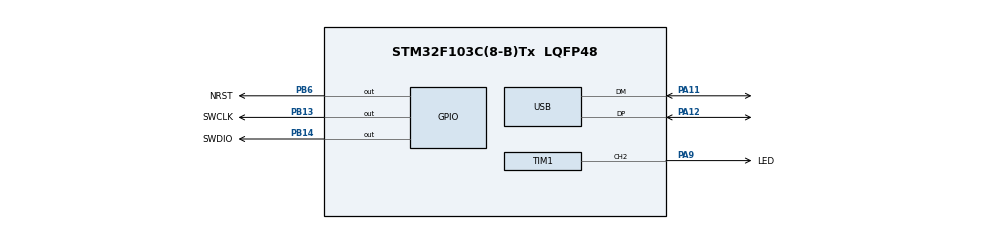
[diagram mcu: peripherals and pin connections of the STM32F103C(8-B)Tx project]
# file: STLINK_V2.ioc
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Mcu.Family=STM32F1
Mcu.Name=STM32F103C(8-B)Tx
Mcu.Package=LQFP48
NVIC.PriorityGroup=NVIC_PRIORITYGROUP_4
NVIC.USB_HP_CAN1_TX_IRQn=true\:0\:0\:false\:false\:true\:true\:true\:true
NVIC.USB_LP_CAN1_RX0_IRQn=true\:0\:0\:false\:false\:true\:true\:true\:true
PA11.Mode=Device
PA11.Signal=USB_DM
PA12.Mode=Device
PA12.Signal=USB_DP
PA13.Mode=Serial_Wire
PA13.Signal=SYS_JTMS-SWDIO
PA14.Mode=Serial_Wire
PA14.Signal=SYS_JTCK-SWCLK
PA9.GPIO_Label=LED
PA9.Signal=S_TIM1_CH2
PB13.GPIO_Label=SWCLK
PB13.Signal=GPIO_Output
PB14.GPIO_Label=SWDIO
PB14.Signal=GPIO_Output
PB6.GPIO_Label=NRST
PB6.GPIO_ModeDefaultOutputPP=GPIO_MODE_OUTPUT_OD
PB6.PinState=GPIO_PIN_SET
PB6.Signal=GPIO_Output
PD0-OSC_IN.Mode=HSE-External-Oscillator
PD0-OSC_IN.Signal=RCC_OSC_IN
PD1-OSC_OUT.Mode=HSE-External-Oscillator
PD1-OSC_OUT.Signal=RCC_OSC_OUT
ProjectManager.HeapSize=0x1700
ProjectManager.StackSize=0x800
ProjectManager.TargetToolchain=CMake
RCC.AHBFreq_Value=72000000
RCC.APB1CLKDivider=RCC_HCLK_DIV2
RCC.APB1Freq_Value=36000000
RCC.APB1TimFreq_Value=72000000
RCC.APB2Freq_Value=72000000
RCC.APB2TimFreq_Value=72000000
RCC.HCLKFreq_Value=72000000
RCC.PLLMUL=RCC_PLL_MUL9
RCC.PLLSourceVirtual=RCC_PLLSOURCE_HSE
RCC.SYSCLKFreq_VALUE=72000000
RCC.SYSCLKSource=RCC_SYSCLKSOURCE_PLLCLK
RCC.USBFreq_Value=48000000
RCC.USBPrescaler=RCC_USBCLKSOURCE_PLL_DIV1_5
SH.S_TIM1_CH2.0=TIM1_CH2,PWM Generation2 CH2
TIM1.Channel-PWM\ Generation2\ CH2=TIM_CHANNEL_2
board=custom

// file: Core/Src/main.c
/* USER CODE BEGIN Header */
/**
 ******************************************************************************
 * @file           : main.c
 * @brief          : Main program body
 ******************************************************************************
 * @attention
 *
 * Copyright (c) 2025 STMicroelectronics.
 * All rights reserved.
 *
 * This software is licensed under terms that can be found in the LICENSE file
 * in the root directory of this software component.
 * If no LICENSE file comes with this software, it is provided AS-IS.
 *
 ******************************************************************************
 */
/* USER CODE END Header */
#include "main.h"

/* USER CODE BEGIN Includes */
#include "app_main.h"
/* USER CODE END Includes */

/* USER CODE BEGIN PD */
/* XR_CLOCK_MODE (72 or 96, MHz) comes from CMake (XR_CLOCK_MODE=72M/96M). */
#define XR_CLOCK_MODE_72M 72
#define XR_CLOCK_MODE_96M 96

/* APM32F103 extends USB prescaler to 2-bit USBDPSC[23:22]. 96M is for APM32-class
 * parts only: a genuine STM32F103 runs at most 72 MHz, bit 23 is reserved there, and its
 * /1 or /1.5 USB prescaler cannot make 48 MHz from 96 MHz. */
#ifndef RCC_CFGR_USBDPSC
#define RCC_CFGR_USBDPSC (0x3UL << 22)
#endif
#define RCC_CFGR_USBDPSC_DIV_1_5 (0x0UL << 22)
#define RCC_CFGR_USBDPSC_DIV_1   (0x1UL << 22)
#define RCC_CFGR_USBDPSC_DIV_2   (0x2UL << 22)

/* USER CODE END PD */

TIM_HandleTypeDef htim1;

PCD_HandleTypeDef hpcd_USB_FS;

void SystemClock_Config(void);
static void MX_GPIO_Init(void);
static void MX_USB_PCD_Init(void);
static void MX_TIM1_Init(void);
/* USER CODE BEGIN PFP */
static void XR_ApplyClockProfile(void);

/* USER CODE END PFP */

/* USER CODE BEGIN 0 */
static void XR_ApplyClockProfile(void)
{
#if (XR_CLOCK_MODE == XR_CLOCK_MODE_72M)
  MODIFY_REG(RCC->CFGR, RCC_CFGR_USBDPSC, RCC_CFGR_USBDPSC_DIV_1_5);
#elif (XR_CLOCK_MODE == XR_CLOCK_MODE_96M)
  MODIFY_REG(FLASH->ACR, FLASH_ACR_LATENCY, 2U);
  while ((FLASH->ACR & FLASH_ACR_LATENCY) != 2U)
  {
  }
  SET_BIT(FLASH->ACR, FLASH_ACR_PRFTBE);

  LL_RCC_SetSysClkSource(LL_RCC_SYS_CLKSOURCE_HSE);
  while (LL_RCC_GetSysClkSource() != LL_RCC_SYS_CLKSOURCE_STATUS_HSE)
  {
  }

  LL_RCC_PLL_Disable();
  while (LL_RCC_PLL_IsReady() != 0)
  {
  }

  LL_RCC_PLL_ConfigDomain_SYS(LL_RCC_PLLSOURCE_HSE_DIV_1, LL_RCC_PLL_MUL_12);
  LL_RCC_PLL_Enable();
  while (LL_RCC_PLL_IsReady() != 1)
  {
  }

  LL_RCC_SetAHBPrescaler(LL_RCC_SYSCLK_DIV_1);
  LL_RCC_SetAPB1Prescaler(LL_RCC_APB1_DIV_2);
  LL_RCC_SetAPB2Prescaler(LL_RCC_APB2_DIV_1);
  LL_RCC_SetSysClkSource(LL_RCC_SYS_CLKSOURCE_PLL);
  while (LL_RCC_GetSysClkSource() != LL_RCC_SYS_CLKSOURCE_STATUS_PLL)
  {
  }

  LL_SetSystemCoreClock(96000000);
  if (HAL_InitTick(TICK_INT_PRIORITY) != HAL_OK)
  {
    Error_Handler();
  }

  MODIFY_REG(RCC->CFGR, RCC_CFGR_USBDPSC, RCC_CFGR_USBDPSC_DIV_2);
#else
#error "Unsupported XR_CLOCK_MODE value."
#endif
}

/* USER CODE END 0 */

int main(void)
{

  /* MCU Configuration--------------------------------------------------------*/

  /* Reset of all peripherals, Initializes the Flash interface and the Systick. */
  HAL_Init();

  /* Configure the system clock */
  SystemClock_Config();

  /* USER CODE BEGIN SysInit */
  XR_ApplyClockProfile();

  /* USER CODE END SysInit */

  /* Initialize all configured peripherals */
  MX_GPIO_Init();
  MX_USB_PCD_Init();
  MX_TIM1_Init();
  /* USER CODE BEGIN 2 */
  app_main();
  /* USER CODE END 2 */

  /* Infinite loop */
  while (1) {

  }
}

void SystemClock_Config(void)
{
  LL_FLASH_SetLatency(LL_FLASH_LATENCY_2);
  while(LL_FLASH_GetLatency()!= LL_FLASH_LATENCY_2)
  {
  }
  LL_RCC_HSE_Enable();

   /* Wait till HSE is ready */
  while(LL_RCC_HSE_IsReady() != 1)
  {

  }
  LL_RCC_PLL_ConfigDomain_SYS(LL_RCC_PLLSOURCE_HSE_DIV_1, LL_RCC_PLL_MUL_9);
  LL_RCC_PLL_Enable();

   /* Wait till PLL is ready */
  while(LL_RCC_PLL_IsReady() != 1)
  {

  }
  LL_RCC_SetAHBPrescaler(LL_RCC_SYSCLK_DIV_1);
  LL_RCC_SetAPB1Prescaler(LL_RCC_APB1_DIV_2);
  LL_RCC_SetAPB2Prescaler(LL_RCC_APB2_DIV_1);
  LL_RCC_SetSysClkSource(LL_RCC_SYS_CLKSOURCE_PLL);

   /* Wait till System clock is ready */
  while(LL_RCC_GetSysClkSource() != LL_RCC_SYS_CLKSOURCE_STATUS_PLL)
  {

  }
  LL_SetSystemCoreClock(72000000);

   /* Update the time base */
  if (HAL_InitTick (TICK_INT_PRIORITY) != HAL_OK)
  {
    Error_Handler();
  }
  LL_RCC_SetUSBClockSource(LL_RCC_USB_CLKSOURCE_PLL_DIV_1_5);
}

static void MX_TIM1_Init(void)
{

  TIM_MasterConfigTypeDef sMasterConfig = {0};
  TIM_OC_InitTypeDef sConfigOC = {0};
  TIM_BreakDeadTimeConfigTypeDef sBreakDeadTimeConfig = {0};

  htim1.Instance = TIM1;
  htim1.Init.Prescaler = 0;
  htim1.Init.CounterMode = TIM_COUNTERMODE_UP;
  htim1.Init.Period = 65535;
  htim1.Init.ClockDivision = TIM_CLOCKDIVISION_DIV1;
  htim1.Init.RepetitionCounter = 0;
  htim1.Init.AutoReloadPreload = TIM_AUTORELOAD_PRELOAD_DISABLE;
  if (HAL_TIM_PWM_Init(&htim1) != HAL_OK)
  {
    Error_Handler();
  }
  sMasterConfig.MasterOutputTrigger = TIM_TRGO_RESET;
  sMasterConfig.MasterSlaveMode = TIM_MASTERSLAVEMODE_DISABLE;
  if (HAL_TIMEx_MasterConfigSynchronization(&htim1, &sMasterConfig) != HAL_OK)
  {
    Error_Handler();
  }
  sConfigOC.OCMode = TIM_OCMODE_PWM1;
  sConfigOC.Pulse = 0;
  sConfigOC.OCPolarity = TIM_OCPOLARITY_HIGH;
  sConfigOC.OCNPolarity = TIM_OCNPOLARITY_HIGH;
  sConfigOC.OCFastMode = TIM_OCFAST_DISABLE;
  sConfigOC.OCIdleState = TIM_OCIDLESTATE_RESET;
  sConfigOC.OCNIdleState = TIM_OCNIDLESTATE_RESET;
  if (HAL_TIM_PWM_ConfigChannel(&htim1, &sConfigOC, TIM_CHANNEL_2) != HAL_OK)
  {
    Error_Handler();
  }
  sBreakDeadTimeConfig.OffStateRunMode = TIM_OSSR_DISABLE;
  sBreakDeadTimeConfig.OffStateIDLEMode = TIM_OSSI_DISABLE;
  sBreakDeadTimeConfig.LockLevel = TIM_LOCKLEVEL_OFF;
  sBreakDeadTimeConfig.DeadTime = 0;
  sBreakDeadTimeConfig.BreakState = TIM_BREAK_DISABLE;
  sBreakDeadTimeConfig.BreakPolarity = TIM_BREAKPOLARITY_HIGH;
  sBreakDeadTimeConfig.AutomaticOutput = TIM_AUTOMATICOUTPUT_DISABLE;
  if (HAL_TIMEx_ConfigBreakDeadTime(&htim1, &sBreakDeadTimeConfig) != HAL_OK)
  {
    Error_Handler();
  }
  HAL_TIM_MspPostInit(&htim1);

}

static void MX_USB_PCD_Init(void)
{

  hpcd_USB_FS.Instance = USB;
  hpcd_USB_FS.Init.dev_endpoints = 8;
  hpcd_USB_FS.Init.speed = PCD_SPEED_FULL;
  hpcd_USB_FS.Init.low_power_enable = DISABLE;
  hpcd_USB_FS.Init.lpm_enable = DISABLE;
  hpcd_USB_FS.Init.battery_charging_enable = DISABLE;
  if (HAL_PCD_Init(&hpcd_USB_FS) != HAL_OK)
  {
    Error_Handler();
  }

}

static void MX_GPIO_Init(void)
{
  GPIO_InitTypeDef GPIO_InitStruct = {0};

  /* GPIO Ports Clock Enable */
  __HAL_RCC_GPIOD_CLK_ENABLE();
  __HAL_RCC_GPIOB_CLK_ENABLE();
  __HAL_RCC_GPIOA_CLK_ENABLE();

  /*Configure GPIO pin Output Level */
  HAL_GPIO_WritePin(GPIOB, SWCLK_Pin|SWDIO_Pin, GPIO_PIN_RESET);

  /*Configure GPIO pin Output Level */
  HAL_GPIO_WritePin(NRST_GPIO_Port, NRST_Pin, GPIO_PIN_SET);

  /*Configure GPIO pins : SWCLK_Pin SWDIO_Pin */
  GPIO_InitStruct.Pin = SWCLK_Pin|SWDIO_Pin;
  GPIO_InitStruct.Mode = GPIO_MODE_OUTPUT_PP;
  GPIO_InitStruct.Pull = GPIO_NOPULL;
  GPIO_InitStruct.Speed = GPIO_SPEED_FREQ_LOW;
  HAL_GPIO_Init(GPIOB, &GPIO_InitStruct);

  /*Configure GPIO pin : NRST_Pin */
  GPIO_InitStruct.Pin = NRST_Pin;
  GPIO_InitStruct.Mode = GPIO_MODE_OUTPUT_OD;
  GPIO_InitStruct.Pull = GPIO_NOPULL;
  GPIO_InitStruct.Speed = GPIO_SPEED_FREQ_LOW;
  HAL_GPIO_Init(NRST_GPIO_Port, &GPIO_InitStruct);

  /* USER CODE BEGIN MX_GPIO_Init_2 */
  /* D+ (PA12) has a fixed 1.5 kOhm pull-up on these boards, so the host would not see
     a reset or a re-flash as a reconnect. Holding D+ low for 10 ms makes the host see a
     disconnect and enumerate the probe again. PA12 is then released (input); the USB
     peripheral takes the pin over once it is enabled. */
  GPIO_InitStruct.Pin = GPIO_PIN_12;
  GPIO_InitStruct.Mode = GPIO_MODE_OUTPUT_PP;
  GPIO_InitStruct.Pull = GPIO_NOPULL;
  GPIO_InitStruct.Speed = GPIO_SPEED_FREQ_LOW;
  HAL_GPIO_WritePin(GPIOA, GPIO_PIN_12, GPIO_PIN_RESET);
  HAL_GPIO_Init(GPIOA, &GPIO_InitStruct);
  HAL_Delay(10);
  GPIO_InitStruct.Mode = GPIO_MODE_INPUT;
  HAL_GPIO_Init(GPIOA, &GPIO_InitStruct);
  /* USER CODE END MX_GPIO_Init_2 */
}

void Error_Handler(void)
{
  __disable_irq();
  while (1) {
  }
}
#ifdef USE_FULL_ASSERT
/**
  * @brief  Reports the name of the source file and the source line number
  *         where the assert_param error has occurred.
  * @param  file: pointer to the source file name
  * @param  line: assert_param error line source number
  * @retval None
  */
void assert_failed(uint8_t *file, uint32_t line)
{
  /* USER CODE BEGIN 6 */
  /* User can add his own implementation to report the file name and line
     number, ex: printf("Wrong parameters value: file %s on line %d\r\n", file,
     line) */
  /* USER CODE END 6 */
}
#endif /* USE_FULL_ASSERT */
